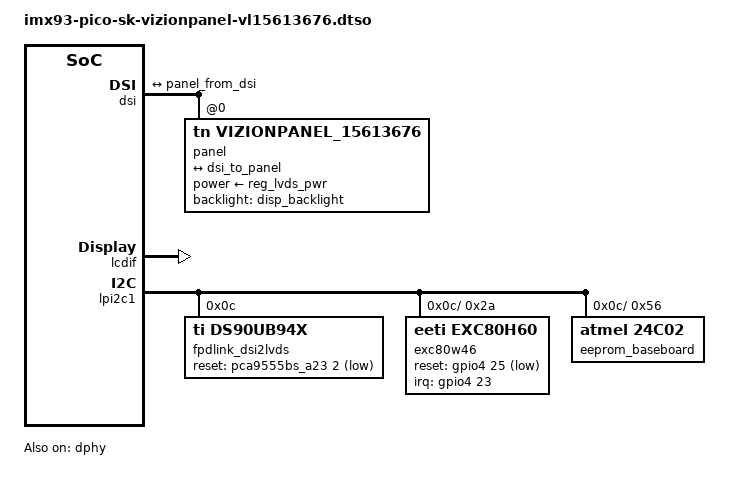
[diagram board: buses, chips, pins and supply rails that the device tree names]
// SPDX-License-Identifier: (GPL-2.0 OR MIT)
/*
 * Copyright 2020 TechNexion Ltd.
 *
 * Author: Richard Hu <richard.hu@technexion.com>
 *
 */

/dts-v1/;
/plugin/;

#include <dt-bindings/interrupt-controller/irq.h>
#include <dt-bindings/gpio/gpio.h>

&{/} {
	reg_lvds_pwr: regulator_lvdspwr {
		status = "okay";
	};

	reg_mipi_backlight_pwr: regulator_mipiblpwr {
		status = "okay";
	};

	disp_backlight: disp_backlight {
		status = "okay";
	};
};

&dphy {
	status = "okay";
};

&dsi {
	status = "okay";
	#address-cells = <1>;
	#size-cells = <0>;

	panel@0 {
		compatible = "tn,vizionpanel_15613676";
		reg = <0>;
		backlight = <&disp_backlight>;
		power-supply = <&reg_lvds_pwr>;

		dsi,flags = <0x0003>;
		bus-flags = <1>;

		port {
			panel_from_dsi: endpoint {
				remote-endpoint = <&dsi_to_panel>;
			};
		};
	};

	ports {
		#address-cells = <1>;
		#size-cells = <0>;
		port@1 {
			reg = <1>;

			dsi_to_panel: endpoint {
				remote-endpoint = <&panel_from_dsi>;
			};
		};
	};
};

&lcdif {
	status = "okay";
	assigned-clock-rates = <445333333>, <148444444>, <400000000>, <133333333>;
};

&lpi2c1 {
	#address-cells = <1>;
	#size-cells = <0>;
	status = "okay";

	fpdlink_dsi2lvds: ds90ub948@c {
		compatible = "ti,ds90ub94x";
		reg = <0x0c>;
		status = "okay";
		reset-gpios = <&pca9555bs_a23 2 GPIO_ACTIVE_LOW>;
		vizionpanel-remote-gpio;
		dsi-delay = <2500>;
		i2c-alias-pool = <0x48 0x49 0x4a 0x4b 0x4c 0x4d 0x4e 0x4f>;

		i2c {
			#address-cells = <1>;
			#size-cells = <0>;

			exc80w46: touchscreen@2a {
				compatible = "eeti,exc80h60";
				pinctrl-names = "touch_reset", "mipi_touch";
				pinctrl-0 = <&pinctrl_touch>;
				pinctrl-1 = <&pinctrl_mipi_touch_irq>;
				reg = <0x2a>;
				interrupt-parent = <&gpio4>;
				interrupts = <23 IRQ_TYPE_LEVEL_LOW>;
				reset-gpios = <&gpio4 25 GPIO_ACTIVE_LOW>;
				status = "okay";
			};

			eeprom_baseboard: eeprom@56 {
				compatible = "atmel,24c02";
				reg = <0x56>;
				pagesize = <16>;
				status = "okay";
			};
		};
	};
};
